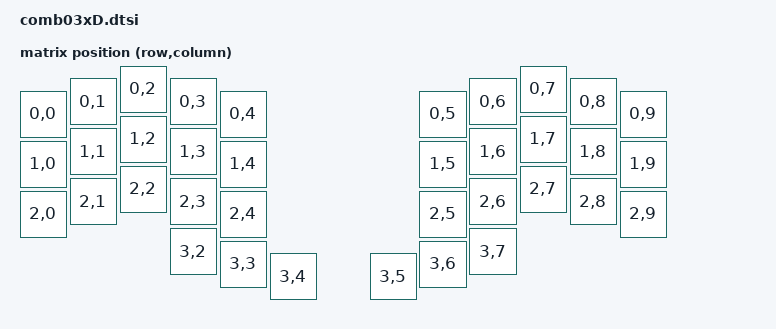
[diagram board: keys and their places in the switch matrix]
#include <dt-bindings/zmk/matrix_transform.h> 
#include <physical_layouts.dtsi>

/ {
    kscan0: kscan0 {
        compatible = "zmk,kscan-gpio-matrix";
        diode-direction = "col2row";
        wakeup-source;
        poll-period-ms = <25>;

    };
    
    default_transform: keymap_transform0 {
        compatible = "zmk,matrix-transform";
        columns = <10>;
        rows = <4>;
        map = <
            RC(0,0) RC(0,1) RC(0,2) RC(0,3) RC(0,4)     RC(0,5) RC(0,6) RC(0,7) RC(0,8) RC(0,9)
            RC(1,0) RC(1,1) RC(1,2) RC(1,3) RC(1,4)     RC(1,5) RC(1,6) RC(1,7) RC(1,8) RC(1,9)
            RC(2,0) RC(2,1) RC(2,2) RC(2,3) RC(2,4)     RC(2,5) RC(2,6) RC(2,7) RC(2,8) RC(2,9)
                            RC(3,2) RC(3,3) RC(3,4)     RC(3,5) RC(3,6) RC(3,7)
        >;
    };
    
    physical_layout0: physical_layout_0 { // First physical layout, use different naming for other layouts
        compatible = "zmk,physical-layout";
        display-name = "Default Layout";
        kscan = <&kscan0>; // Label of the kscan node, optional if all layouts use the same
        transform = <&default_transform>; // Label of the matrix transform for this layout
        keys  //                     w   h     x    y     rot    rx    ry
            = <&key_physical_attrs 100 100     0   50       0     0     0> // Row 1
            , <&key_physical_attrs 100 100   100   25       0     0     0>
            , <&key_physical_attrs 100 100   200    0       0     0     0>
            , <&key_physical_attrs 100 100   300   25       0     0     0>
            , <&key_physical_attrs 100 100   400   50       0     0     0>
            , <&key_physical_attrs 100 100   800   50       0     0     0>
            , <&key_physical_attrs 100 100   900   25       0     0     0>
            , <&key_physical_attrs 100 100  1000    0       0     0     0>
            , <&key_physical_attrs 100 100  1100   25       0     0     0>
            , <&key_physical_attrs 100 100  1200   50       0     0     0>
            , <&key_physical_attrs 100 100     0  150       0     0     0> // Row 2
            , <&key_physical_attrs 100 100   100  125       0     0     0>
            , <&key_physical_attrs 100 100   200  100       0     0     0>
            , <&key_physical_attrs 100 100   300  125       0     0     0>
            , <&key_physical_attrs 100 100   400  150       0     0     0>
            , <&key_physical_attrs 100 100   800  150       0     0     0>
            , <&key_physical_attrs 100 100   900  125       0     0     0>
            , <&key_physical_attrs 100 100  1000  100       0     0     0>
            , <&key_physical_attrs 100 100  1100  125       0     0     0>
            , <&key_physical_attrs 100 100  1200  150       0     0     0>
            , <&key_physical_attrs 100 100     0  250       0     0     0> // Row 3
            , <&key_physical_attrs 100 100   100  225       0     0     0>
            , <&key_physical_attrs 100 100   200  200       0     0     0>
            , <&key_physical_attrs 100 100   300  225       0     0     0>
            , <&key_physical_attrs 100 100   400  250       0     0     0>
            , <&key_physical_attrs 100 100   800  250       0     0     0>
            , <&key_physical_attrs 100 100   900  225       0     0     0>
            , <&key_physical_attrs 100 100  1000  200       0     0     0>
            , <&key_physical_attrs 100 100  1100  225       0     0     0>
            , <&key_physical_attrs 100 100  1200  250       0     0     0>
            , <&key_physical_attrs 100 100   300  325       0     0     0> // Row 4
            , <&key_physical_attrs 100 100   400  350       0     0     0>
            , <&key_physical_attrs 100 100   500  375       0     0     0>
            , <&key_physical_attrs 100 100   700  375       0     0     0>
            , <&key_physical_attrs 100 100   800  350       0     0     0>
            , <&key_physical_attrs 100 100   900  325       0     0     0>
            ;
    };
    
    chosen {
        zmk,kscan = &kscan0;
        zmk,physical-layout = &physical_layout0;
        // Other chosen items
    };
};
